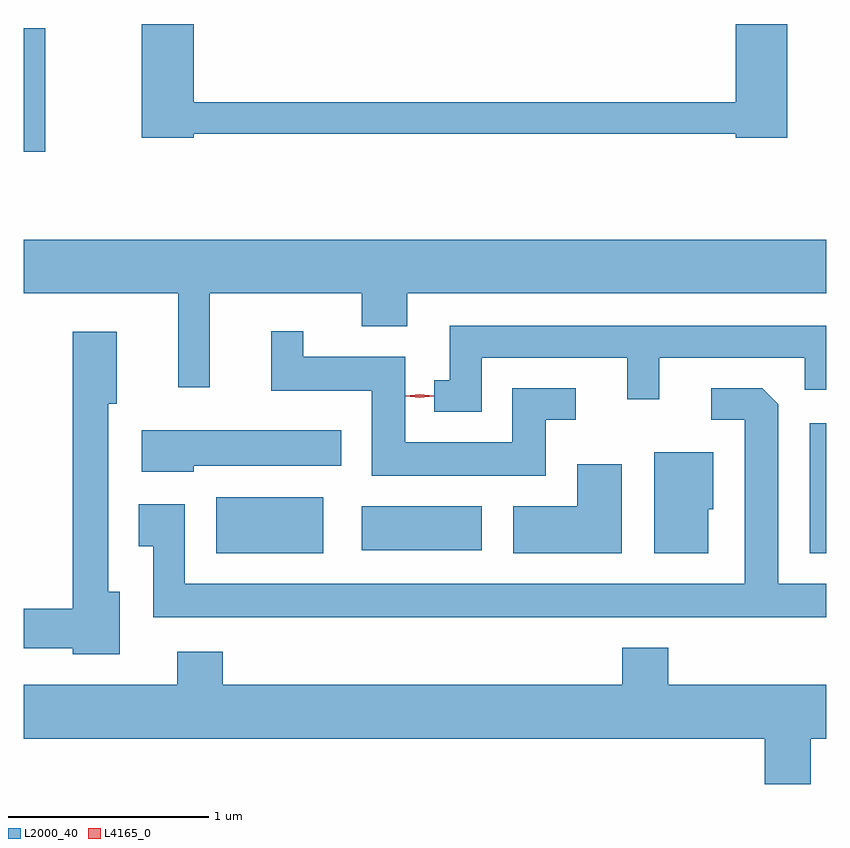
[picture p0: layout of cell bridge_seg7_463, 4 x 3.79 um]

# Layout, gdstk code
import gdstk
lib = gdstk.Library(unit=1e-6, precision=1e-09)
def R(c, l, rs):  # rectangles x0, y0, x1, y1
    for r in rs: c.add(gdstk.rectangle(r[:2], r[2:], *l))
def P(c, l, *ps):  # polygons
    for p in ps: c.add(gdstk.Polygon(p, *l))
L2000_40 = (2000, 40)
L4165_0 = (4165, 0)

bridge_seg7_463 = lib.new_cell('bridge_seg7_463')
R(bridge_seg7_463, L2000_40, [(1440.336,1699.701,1440.869,1699.979), (1443.296,1699.701,1443.377,1700.349), (1441.061,1699.716,1441.659,1699.934), (1439.377,1701.701,1439.484,1702.319)])
P(bridge_seg7_463, L2000_40, [(1440.224,1701.791),(1442.926,1701.791),(1442.926,1701.771),(1443.184,1701.771),(1443.184,1702.339),(1442.926,1702.339),(1442.926,1701.949),(1440.224,1701.949),(1440.224,1702.339),(1439.966,1702.339),(1439.966,1701.771),(1440.224,1701.771)],
  [(1440.304,1700.996),(1441.061,1700.996),(1441.061,1700.831),(1441.289,1700.831),(1441.289,1700.996),(1443.377,1700.996),(1443.377,1701.264),(1439.377,1701.264),(1439.377,1700.996),(1440.146,1700.996),(1440.146,1700.528),(1440.304,1700.528)],
  [(1441.659,1700.676),(1442.386,1700.676),(1442.386,1700.468),(1442.544,1700.468),(1442.544,1700.676),(1443.271,1700.676),(1443.271,1700.516),(1443.377,1700.516),(1443.377,1700.834),(1441.501,1700.834),(1441.501,1700.564),(1441.423,1700.564),(1441.423,1700.406),(1441.659,1700.406)],
  [(1441.979,1700.366),(1442.128,1700.366),(1442.128,1700.524),(1441.811,1700.524),(1441.811,1700.254),(1441.279,1700.254),(1441.279,1700.679),(1440.769,1700.679),(1440.769,1700.808),(1440.611,1700.808),(1440.611,1700.511),(1441.111,1700.511),(1441.111,1700.086),(1441.979,1700.086)],
  [(1439.854,1699.509),(1439.799,1699.509),(1439.799,1700.446),(1439.839,1700.446),(1439.839,1700.804),(1439.621,1700.804),(1439.621,1699.424),(1439.377,1699.424),(1439.377,1699.226),(1439.621,1699.226),(1439.621,1699.196),(1439.854,1699.196)],
  [(1443.377,1699.549),(1443.139,1699.549),(1443.139,1700.444),(1443.059,1700.524),(1442.803,1700.524),(1442.803,1700.366),(1442.971,1700.366),(1442.971,1699.549),(1440.179,1699.549),(1440.179,1699.944),(1439.951,1699.944),(1439.951,1699.736),(1440.021,1699.736),(1440.021,1699.381),(1443.377,1699.381)],
  [(1440.224,1700.136),(1440.959,1700.136),(1440.959,1700.314),(1439.966,1700.314),(1439.966,1700.106),(1440.224,1700.106)],
  [(1442.789,1699.921),(1442.814,1699.921),(1442.814,1700.204),(1442.521,1700.204),(1442.521,1699.701),(1442.789,1699.701)],
  [(1442.359,1700.144),(1442.136,1700.144),(1442.136,1699.934),(1441.816,1699.934),(1441.816,1699.701),(1442.359,1699.701)],
  [(1443.299,1698.776),(1443.377,1698.776),(1443.377,1699.044),(1442.589,1699.044),(1442.589,1699.229),(1442.361,1699.229),(1442.361,1699.044),(1440.369,1699.044),(1440.369,1699.209),(1440.141,1699.209),(1440.141,1699.044),(1439.377,1699.044),(1439.377,1698.776),(1443.071,1698.776),(1443.071,1698.55),(1443.299,1698.55)])
P(bridge_seg7_463, L4165_0, [(1441.351,1700.475),(1441.282,1700.484),(1441.282,1700.484),(1441.282,1700.485),(1441.351,1700.494),(1441.421,1700.485),(1441.421,1700.485),(1441.421,1700.484)])

lib.write_gds('bridge_seg7_463.gds')
